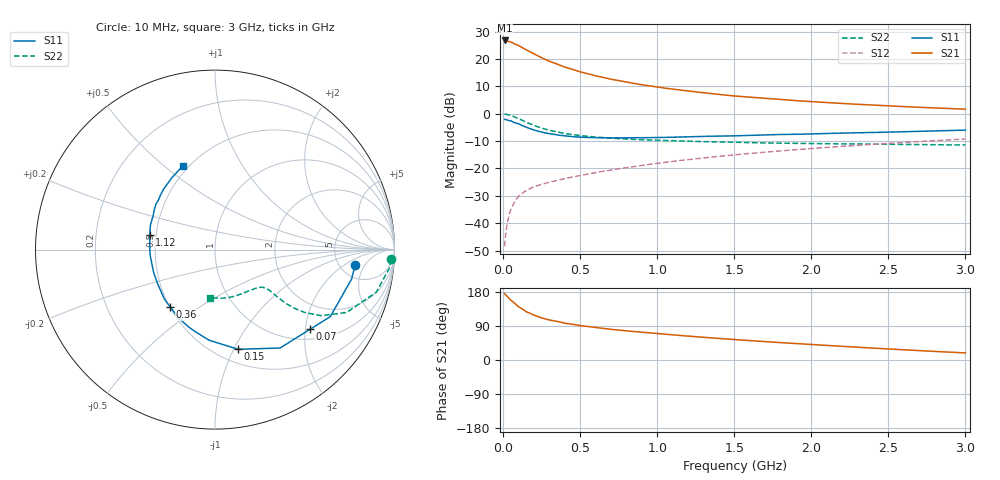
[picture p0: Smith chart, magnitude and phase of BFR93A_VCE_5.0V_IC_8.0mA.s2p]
! Infineon Technologies  Discrete & RF Semiconductors
! BFR93A
! VCE =  5.0 V,  IC =  8.0 mA
! Common Emitter S-Parameters:  Nov 2015
# GHz  S  MA  R  50
!  f  S11  S21  S12  S22
! GHz  MAG  ANG  MAG  ANG  MAG  ANG  MAG  ANG
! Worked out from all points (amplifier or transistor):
!   180 points, 10 MHz to 3 GHz, reference 50 ohm
!   highest |S21| = 26.7 dB at 10 MHz (marker M1)
!   |S21| within 3 dB of that: start of sweep to 136.5 MHz
!   unconditionally stable (mu >= 1): 641 MHz to 2.627 GHz
!   at 160 MHz: K = 0.44, MSG = 25.4 dB, |S12| = -27.8 dB
!   at 1.22 GHz: K = 1.10, MAG = 10.5 dB, |S12| = -16.7 dB
!   at 3 GHz: K = 0.96, MSG = 5.4 dB, |S12| = -9.2 dB
!   S11 on the Smith chart (normalised r, x): 10 MHz: 6.95, -3.09; 70 MHz: 1.25, -2.13; 150 MHz: 0.63, -1.04; 360 MHz: 0.50, -0.38; 1.12 GHz: 0.46, +0.09; 3 GHz: 0.47, +0.58
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0.01  0.786 -6.2  21.71 175.1  0.0038 87.4  0.9837 -3.2
0.02  0.7782 -12.3  21.52 170.6  0.0074 83.0  0.9762 -6.2
0.05  0.7429 -30.2  20.43 157.8  0.0177 75.2  0.9294 -14.8
0.07  0.6914 -39.9  19.09 151.5  0.0229 69.8  0.8788 -18.8
0.1  0.6574 -56.5  17.59 140.6  0.031 65.2  0.8121 -25.6
0.15  0.5703 -76.9  14.67 127.5  0.0395 58.9  0.6964 -31.9
0.2  0.5059 -93.8  12.32 118.2  0.0461 56.3  0.6088 -35.1
0.24  0.4679 -104.3  10.84 112.6  0.0502 55.2  0.5568 -36.3
0.26  0.4542 -109.2  10.2 110.0  0.0521 54.9  0.5344 -36.7
0.3  0.4324 -117.8  9.079 105.6  0.0558 54.9  0.4966 -37.2
0.36  0.4048 -128.1  7.863 101.1  0.0614 55.5  0.4589 -37.2
0.4  0.3945 -135.6  7.088 97.2  0.0651 55.9  0.4337 -37.2
0.52  0.3699 -150.9  5.627 89.9  0.0761 57.7  0.3925 -36.9
0.6  0.3651 -159.4  4.917 85.6  0.0838 58.7  0.3729 -36.8
0.7  0.3604 -167.8  4.259 80.9  0.0935 59.6  0.3562 -37.2
0.9  0.364 178.6  3.365 73.2  0.1135 61.0  0.3334 -38.9
1.02  0.3669 171.9  3.003 69.0  0.1259 61.0  0.3251 -40.4
1.12  0.3727 167.1  2.761 65.6  0.1365 61.1  0.3184 -42.1
1.52  0.3946 150.5  2.083 53.4  0.1788 59.9  0.2979 -50.1
2.02  0.4286 135.3  1.645 40.3  0.2328 56.7  0.2837 -62.9
2.52  0.4613 122.7  1.377 28.8  0.2892 52.3  0.2756 -78.0
3  0.4998 111.0  1.207 18.7  0.3452 47.3  0.2693 -95.9
